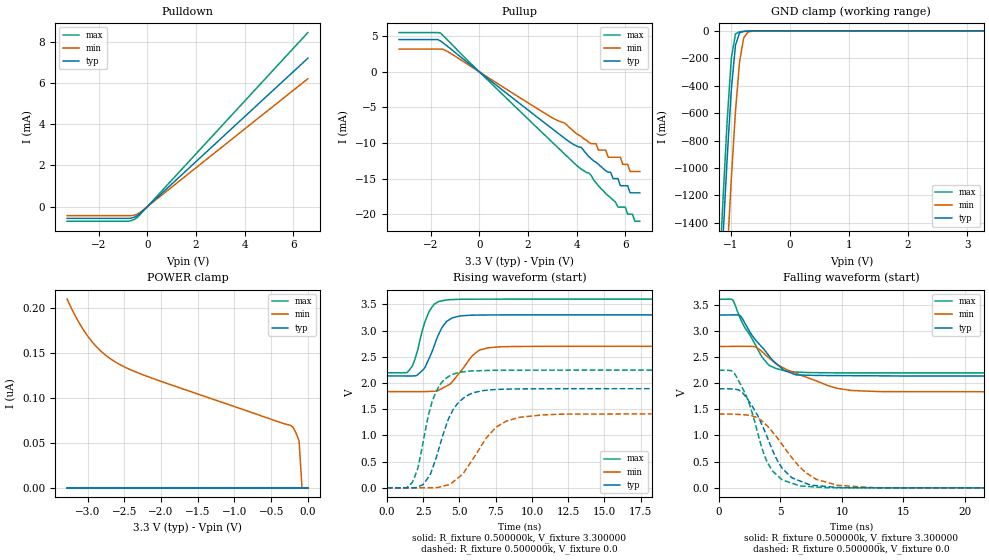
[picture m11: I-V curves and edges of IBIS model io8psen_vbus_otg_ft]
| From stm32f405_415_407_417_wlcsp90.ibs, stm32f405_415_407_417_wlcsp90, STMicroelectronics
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|   Model io8psen_vbus_otg_ft
[Model]  io8psen_vbus_otg_ft
Model_type 3-state
Polarity   Non-Inverting
Enable   Active-High
Vmeas =  1.650000V
Cref =   50.000000pF
Rref =   100.000000M
Vref =   0.0V
C_comp   3.300900pF   3.198000pF   3.426400pF
[Temperature Range]   25.000000   0.125000k   -40.000000
[Pullup Reference]   3.300000V   2.700000V   3.600000V
[Pulldown Reference]   0.0V   0.0V   0.0V
[POWER Clamp Reference]   3.300000V   2.700000V   3.600000V
[GND Clamp Reference]   0.0V   0.0V   0.0V
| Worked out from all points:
|   slope of the pulldown table from 0 to 0.495 V, typ, clamps not added: 915 ohm
|   slope of the pullup table from 0 to 0.495 V, typ, clamps not added: 371 ohm
|   GND clamp passes 1 mA (typ) near -0.61 V on its own axis
|   rising waveform, R_fixture 0.500000k, V_fixture 3.300000: 20-80 % time 1.08ns typ, 1.47ns min, 889ps max; typ from 2.13 V to 3.3 V
|   rising waveform, R_fixture 0.500000k, V_fixture 0.0: 20-80 % time 1.47ns typ, 2.14ns min, 1.15ns max; typ from 0 V to 1.89 V
|   falling waveform, R_fixture 0.500000k, V_fixture 3.300000: 20-80 % time 2.4ns typ, 4.43ns min, 1.99ns max; typ from 3.3 V to 2.13 V
|   falling waveform, R_fixture 0.500000k, V_fixture 0.0: 20-80 % time 2.3ns typ, 2.98ns min, 1.88ns max; typ from 1.89 V to 0 V
[Pulldown]
|Voltage   I(typ)   I(min)   I(max)
-3.3V     -568.8uA   -435.6uA   -711.6uA
-800mV    -568.8uA   -435.6uA   -711.6uA
-600mV    -538.7uA   -432.7uA   -651.9uA
-400mV    -425uA     -350.3uA   -505.8uA
6.6V      7.199mA    6.203mA    8.444mA
[Pullup]
|Voltage   I(typ)   I(min)   I(max)
-3.3V     4.529mA    3.197mA    5.513mA
-1.6V     4.34mA     3.197mA    5.455mA
3.5V      -9.319mA   -7.182mA   -11.52mA
4.8V      -12.7mA    -10.1mA    -15.6mA
4.9V      -13mA      -11mA      -16mA
5.2V      -13.9mA    -11mA      -17.1mA
5.3V      -14.1mA    -12mA      -17.4mA
5.8V      -16mA      -12mA      -19mA
6V        -16mA      -13mA      -19mA
6.1V      -16mA      -13mA      -20mA
6.2V      -17mA      -14mA      -20mA
6.6V      -17mA      -14mA      -21mA
[GND_clamp]
|Voltage   I(typ)   I(min)   I(max)
-3.3V     -9.429A    -9.432A    -9.904A
-1.2V     -2.113A    -2.844A    -1.842A
-1.13V    -1.502A    -2.228A    -1.224A
-1.06V    -927mA     -1.634A    -653.1mA
-990mV    -428.7mA   -1.078A    -200.2mA
-920mV    -105.4mA   -587.6mA   -23.28mA
-850mV    -14.68mA   -223.7mA   -6.667mA
-780mV    -4.207mA   -50.77mA   -4.248mA
-710mV    -2.321mA   -9.26mA    -2.639mA
-640mV    -1.305mA   -2.349mA   -1.385mA
3.28V     0A         0A         0A
[POWER_clamp]
|Voltage   I(typ)   I(min)   I(max)
-3.28V    0A         210.1nA    0A
-3.12V    0A         184.2nA    0A
-2.96V    0A         164.6nA    0A
-2.8V     0A         150.7nA    0A
-2.6V     0A         139nA      0A
-2.16V    0A         123.2nA    0A
-240mV    0A         69.7nA     0A
-200mV    0A         67.32nA    0A
-160mV    0A         60.72nA    0A
-120mV    0A         52.23nA    0A
-80mV     0A         0A         0A
0V        0A         0A         0A
[Ramp]
| variable   typ   min   max
dV/dt_r  1.13460/1.46339n   0.84588/2.14013n   1.34694/1.14432n
dV/dt_f  0.69930/2.39522n   0.51900/4.42742n   0.84306/1.98791n
R_load = 0.500000k
[Rising Waveform]
R_fixture= 0.500000k
V_fixture= 3.300000
V_fixture_min= 2.700000
V_fixture_max= 3.600000
|time   V(typ)   V(min)   V(max)
0s        2.135V     1.835V     2.195V
1.376ns   2.133V     1.835V     2.197V
2.127ns   2.159V     1.835V     2.637V
2.628ns   2.301V     1.835V     3.176V
3.003ns   2.528V     1.839V     3.406V
3.754ns   3.038V     1.89V      3.566V
4.254ns   3.2V       1.964V     3.589V
6.256ns   3.296V     2.603V     3.599V
7.758ns   3.299V     2.69V      3.599V
62.31ns   3.3V       2.7V       3.6V
[Rising Waveform]
R_fixture= 0.500000k
V_fixture= 0.0
V_fixture_min= 0.0
V_fixture_max= 0.0
|time   V(typ)   V(min)   V(max)
0s        15.8uV     12.44uV    8.086uV
1.752ns   -604.5uV   -56.76uV   105.5mV
2.503ns   62.2mV     -1.115mV   883.1mV
3.003ns   264.5mV    402.9uV    1.535V
3.504ns   674mV      6.377mV    1.895V
4.254ns   1.325V     57.38mV    2.125V
5.13ns    1.677V     241.4mV    2.208V
7.508ns   1.875V     1.153V     2.242V
10.64ns   1.889V     1.388V     2.244V
62.31ns   1.891V     1.41V      2.245V
[Falling Waveform]
R_fixture= 0.500000k
V_fixture= 3.300000
V_fixture_min= 2.700000
V_fixture_max= 3.600000
|time   V(typ)   V(min)   V(max)
0s        3.3V       2.7V       3.6V
1.126ns   3.303V     2.702V     3.588V
1.752ns   3.282V     2.702V     3.227V
3.003ns   2.817V     2.686V     2.715V
4.004ns   2.542V     2.494V     2.358V
5.255ns   2.249V     2.289V     2.241V
6.131ns   2.17V      2.199V     2.213V
9.635ns   2.144V     1.9V       2.196V
13.14ns   2.139V     1.838V     2.195V
62.31ns   2.135V     1.835V     2.195V
[Falling Waveform]
R_fixture= 0.500000k
V_fixture= 0.0
V_fixture_min= 0.0
V_fixture_max= 0.0
|time   V(typ)   V(min)   V(max)
0s        1.891V     1.41V      2.245V
1.502ns   1.877V     1.404V     2.089V
2.878ns   1.492V     1.362V     1.29V
3.629ns   1.137V     1.249V     664.4mV
4.379ns   706.6mV    1.06V      315.8mV
5.13ns    377.2mV    831mV      156mV
6.632ns   127mV      384.2mV    36.19mV
9.635ns   8.143mV    48.37mV    2.066mV
12.64ns   1.087mV    3.189mV    125.9uV
62.31ns   15.8uV     12.44uV    8.086uV
